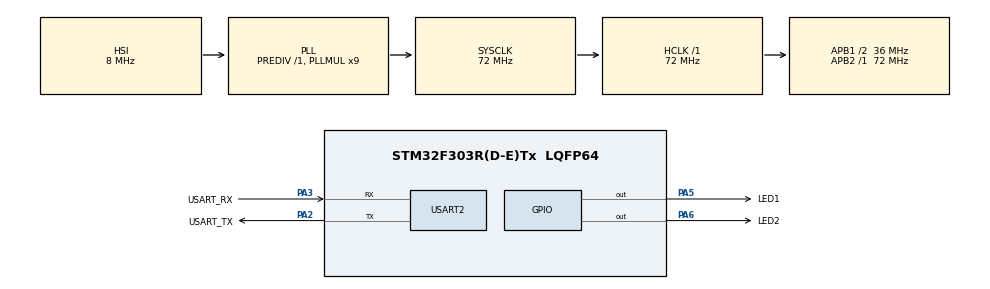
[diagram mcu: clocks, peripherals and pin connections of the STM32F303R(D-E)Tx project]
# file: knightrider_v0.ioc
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Dma.Request0=TIM6_UP
Dma.TIM6_UP.0.Direction=DMA_MEMORY_TO_PERIPH
Dma.TIM6_UP.0.Instance=DMA1_Channel3
Dma.TIM6_UP.0.MemDataAlignment=DMA_MDATAALIGN_WORD
Dma.TIM6_UP.0.MemInc=DMA_MINC_ENABLE
Dma.TIM6_UP.0.Mode=DMA_CIRCULAR
Dma.TIM6_UP.0.PeriphDataAlignment=DMA_PDATAALIGN_WORD
Dma.TIM6_UP.0.PeriphInc=DMA_PINC_DISABLE
Dma.TIM6_UP.0.Priority=DMA_PRIORITY_VERY_HIGH
Mcu.Family=STM32F3
Mcu.Name=STM32F303R(D-E)Tx
Mcu.Package=LQFP64
NVIC.DMA1_Channel3_IRQn=true\:0\:0\:false\:false\:true\:false\:true\:true
NVIC.PriorityGroup=NVIC_PRIORITYGROUP_0
PA13.GPIO_Label=TMS
PA13.Mode=Serial_Wire
PA13.Signal=SYS_JTMS-SWDIO
PA14.GPIO_Label=TCK
PA14.Mode=Serial_Wire
PA14.Signal=SYS_JTCK-SWCLK
PA2.GPIO_Label=USART_TX
PA2.GPIO_Mode=GPIO_MODE_AF_PP
PA2.GPIO_PuPd=GPIO_NOPULL
PA2.GPIO_Speed=GPIO_SPEED_FREQ_LOW
PA2.Mode=Asynchronous
PA2.Signal=USART2_TX
PA3.GPIO_Label=USART_RX
PA3.GPIO_Mode=GPIO_MODE_AF_PP
PA3.GPIO_PuPd=GPIO_NOPULL
PA3.GPIO_Speed=GPIO_SPEED_FREQ_LOW
PA3.Mode=Asynchronous
PA3.Signal=USART2_RX
PA5.GPIO_Label=LED1
PA5.GPIO_Mode=GPIO_MODE_OUTPUT_PP
PA5.GPIO_PuPd=GPIO_NOPULL
PA5.GPIO_Speed=GPIO_SPEED_FREQ_LOW
PA5.Signal=GPIO_Output
PA6.GPIO_Label=LED2
PA6.Signal=GPIO_Output
PB3.GPIO_Label=SWO
PB3.Signal=SYS_JTDO-TRACESWO
PC14-OSC32_IN.Mode=LSE-External-Oscillator
PC14-OSC32_IN.Signal=RCC_OSC32_IN
PC15-OSC32_OUT.Mode=LSE-External-Oscillator
PC15-OSC32_OUT.Signal=RCC_OSC32_OUT
PF0-OSC_IN.Mode=HSE-External-Clock-Source
PF0-OSC_IN.Signal=RCC_OSC_IN
PF1-OSC_OUT.Signal=RCC_OSC_OUT
ProjectManager.HeapSize=0x200
ProjectManager.StackSize=0x400
ProjectManager.TargetToolchain=STM32CubeIDE
RCC.AHBFreq_Value=72000000
RCC.APB1CLKDivider=RCC_HCLK_DIV2
RCC.APB1Freq_Value=36000000
RCC.APB1TimFreq_Value=72000000
RCC.APB2Freq_Value=72000000
RCC.APB2TimFreq_Value=72000000
RCC.CortexFreq_Value=72000000
RCC.HCLKFreq_Value=72000000
RCC.HSE_VALUE=8000000
RCC.HSI_VALUE=8000000
RCC.PLLM=8
RCC.PLLMUL=RCC_PLL_MUL9
RCC.PLLN=336
RCC.PLLP=RCC_PLLP_DIV4
RCC.PLLQ=7
RCC.RCC_PLLsource_Clock_Source_FROM_HSE=RCC_HSE_PREDIV_DIV2
RCC.SYSCLKFreq_VALUE=72000000
RCC.SYSCLKSourceVirtual=RCC_SYSCLKSOURCE_PLLCLK
RCC.USBFreq_Value=72000000
TIM6.AutoReloadPreload=TIM_AUTORELOAD_PRELOAD_ENABLE
USART2.VirtualMode-Asynchronous=VM_ASYNC
VP_TIM6_VS_ClockSourceINT.Mode=Enable_Timer
board=NUCLEO-F303RE

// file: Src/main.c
/* USER CODE BEGIN Header */
/**
 ******************************************************************************
 * @file           : main.c
 * @brief          : Main program body
 ******************************************************************************
 * @attention
 *
 * Copyright (c) 2025 STMicroelectronics.
 * All rights reserved.
 *
 * This software is licensed under terms that can be found in the LICENSE file
 * in the root directory of this software component.
 * If no LICENSE file comes with this software, it is provided AS-IS.
 *
 ******************************************************************************
 */
/* USER CODE END Header */
#include "main.h"

TIM_HandleTypeDef htim6;
DMA_HandleTypeDef hdma_tim6_up;

UART_HandleTypeDef huart2;

void SystemClock_Config(void);
static void MX_GPIO_Init(void);
static void MX_DMA_Init(void);
static void MX_TIM6_Init(void);
static void MX_USART2_UART_Init(void);

int main(void) {

	/* MCU Configuration--------------------------------------------------------*/

	/* Reset of all peripherals, Initializes the Flash interface and the Systick. */
	HAL_Init();

	/* Configure the system clock */
	SystemClock_Config();

	/* Initialize all configured peripherals */
	MX_GPIO_Init();
	MX_DMA_Init();
	MX_TIM6_Init();
	MX_USART2_UART_Init();
	/* USER CODE BEGIN 2 */

	// uncomment next line for using ODR register instead
	//#define USE_ODR

#ifndef USE_ODR
	// buffer with states of port A BSRR
	uint32_t puiGpioPortAStates[] =
	{
		1 << 5 | 1 << 22,	// pin 5 set, pin 6 set
		1 << 6 | 1 << 21	// pin 5 reset, pin 6 set
	};

	// start DMA access between puiGpioPortAStates and GPIOA_BSRR
	HAL_DMA_Start(&hdma_tim6_up, (uint32_t) puiGpioPortAStates,
			(uint32_t) &GPIOA->BSRR, 2);
#else
	// buffer with states of port A ODR
	uint32_t puiGpioPortAStates[] =
	{
		1 << 5,	// pin 5 set
		1 << 6	// pin 6 set
	};

	// start DMA access between puiGpioPortAStates and GPIOA_ODR
	HAL_DMA_Start(&hdma_tim6_up, (uint32_t) puiGpioPortAStates,
			(uint32_t) &GPIOA->ODR, 2);
#endif

	// Disable systick interrupt
	// When enabled, this causes flickering
	HAL_SuspendTick();

	// enable tim6 DMA event
	__HAL_TIM_ENABLE_DMA(&htim6, TIM_DMA_UPDATE);

	// start tim6
	HAL_TIM_Base_Start(&htim6);
	/* USER CODE END 2 */

	/* Infinite loop */
	while (1) {

	}
}

void SystemClock_Config(void) {
	RCC_OscInitTypeDef RCC_OscInitStruct = { 0 };
	RCC_ClkInitTypeDef RCC_ClkInitStruct = { 0 };
	RCC_PeriphCLKInitTypeDef PeriphClkInit = { 0 };

	/** Initializes the RCC Oscillators according to the specified parameters
	 * in the RCC_OscInitTypeDef structure.
	 */
	RCC_OscInitStruct.OscillatorType = RCC_OSCILLATORTYPE_HSI;
	RCC_OscInitStruct.HSIState = RCC_HSI_ON;
	RCC_OscInitStruct.HSICalibrationValue = RCC_HSICALIBRATION_DEFAULT;
	RCC_OscInitStruct.PLL.PLLState = RCC_PLL_ON;
	RCC_OscInitStruct.PLL.PLLSource = RCC_PLLSOURCE_HSI;
	RCC_OscInitStruct.PLL.PLLMUL = RCC_PLL_MUL9;
	RCC_OscInitStruct.PLL.PREDIV = RCC_PREDIV_DIV1;
	if (HAL_RCC_OscConfig(&RCC_OscInitStruct) != HAL_OK) {
		Error_Handler();
	}

	/** Initializes the CPU, AHB and APB buses clocks
	 */
	RCC_ClkInitStruct.ClockType = RCC_CLOCKTYPE_HCLK | RCC_CLOCKTYPE_SYSCLK
			| RCC_CLOCKTYPE_PCLK1 | RCC_CLOCKTYPE_PCLK2;
	RCC_ClkInitStruct.SYSCLKSource = RCC_SYSCLKSOURCE_PLLCLK;
	RCC_ClkInitStruct.AHBCLKDivider = RCC_SYSCLK_DIV1;
	RCC_ClkInitStruct.APB1CLKDivider = RCC_HCLK_DIV2;
	RCC_ClkInitStruct.APB2CLKDivider = RCC_HCLK_DIV1;

	if (HAL_RCC_ClockConfig(&RCC_ClkInitStruct, FLASH_LATENCY_2) != HAL_OK) {
		Error_Handler();
	}
	PeriphClkInit.PeriphClockSelection = RCC_PERIPHCLK_USART2;
	PeriphClkInit.Usart2ClockSelection = RCC_USART2CLKSOURCE_PCLK1;
	if (HAL_RCCEx_PeriphCLKConfig(&PeriphClkInit) != HAL_OK) {
		Error_Handler();
	}
}

static void MX_TIM6_Init(void) {

	TIM_MasterConfigTypeDef sMasterConfig = { 0 };

	htim6.Instance = TIM6;
	htim6.Init.Prescaler = 0;
	htim6.Init.CounterMode = TIM_COUNTERMODE_UP;
	htim6.Init.Period = 72 - 1;	// 1 MHz frequency
	htim6.Init.AutoReloadPreload = TIM_AUTORELOAD_PRELOAD_ENABLE;
	if (HAL_TIM_Base_Init(&htim6) != HAL_OK) {
		Error_Handler();
	}
	sMasterConfig.MasterOutputTrigger = TIM_TRGO_RESET;
	sMasterConfig.MasterSlaveMode = TIM_MASTERSLAVEMODE_DISABLE;
	if (HAL_TIMEx_MasterConfigSynchronization(&htim6, &sMasterConfig)
			!= HAL_OK) {
		Error_Handler();
	}

}

static void MX_USART2_UART_Init(void) {

	huart2.Instance = USART2;
	huart2.Init.BaudRate = 38400;
	huart2.Init.WordLength = UART_WORDLENGTH_8B;
	huart2.Init.StopBits = UART_STOPBITS_1;
	huart2.Init.Parity = UART_PARITY_NONE;
	huart2.Init.Mode = UART_MODE_TX_RX;
	huart2.Init.HwFlowCtl = UART_HWCONTROL_NONE;
	huart2.Init.OverSampling = UART_OVERSAMPLING_16;
	huart2.Init.OneBitSampling = UART_ONE_BIT_SAMPLE_DISABLE;
	huart2.AdvancedInit.AdvFeatureInit = UART_ADVFEATURE_NO_INIT;
	if (HAL_UART_Init(&huart2) != HAL_OK) {
		Error_Handler();
	}

}

static void MX_DMA_Init(void) {

	/* DMA controller clock enable */
	__HAL_RCC_DMA1_CLK_ENABLE();

	/* DMA interrupt init */
	/* DMA1_Channel3_IRQn interrupt configuration */
	HAL_NVIC_SetPriority(DMA1_Channel3_IRQn, 0, 0);
	HAL_NVIC_EnableIRQ(DMA1_Channel3_IRQn);

}

static void MX_GPIO_Init(void) {
	GPIO_InitTypeDef GPIO_InitStruct = { 0 };

	/* GPIO Ports Clock Enable */
	__HAL_RCC_GPIOC_CLK_ENABLE();
	__HAL_RCC_GPIOF_CLK_ENABLE();
	__HAL_RCC_GPIOA_CLK_ENABLE();
	__HAL_RCC_GPIOB_CLK_ENABLE();

	/*Configure GPIO pin Output Level */
	HAL_GPIO_WritePin(GPIOA, LED1_Pin | LED2_Pin, GPIO_PIN_RESET);

	/*Configure GPIO pins : LED1_Pin LED2_Pin */
	GPIO_InitStruct.Pin = LED1_Pin | LED2_Pin;
	GPIO_InitStruct.Mode = GPIO_MODE_OUTPUT_PP;
	GPIO_InitStruct.Pull = GPIO_NOPULL;
	GPIO_InitStruct.Speed = GPIO_SPEED_FREQ_LOW;
	HAL_GPIO_Init(GPIOA, &GPIO_InitStruct);

}

void Error_Handler(void) {
	__disable_irq();
	while (1) {
	}
}
